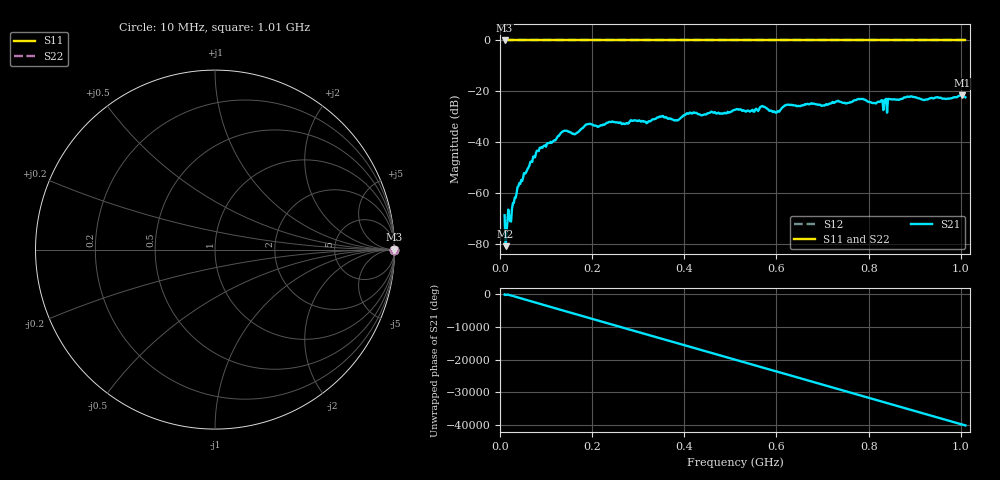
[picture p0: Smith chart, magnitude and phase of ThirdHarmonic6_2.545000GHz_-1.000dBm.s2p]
! 8/17/2025 5:10:02 AM
! C:\ANRITSUVNA\TEMP\TEMP.S2P
! CHANNEL.1
! TR.MEASUREMENT
! RAW.DATA
! RF.CORRECTION.OFF
! AVERAGING.OFF
! IF.BANDWIDTH: 5KHZ
! SWEEPTYPE:  FREQ.SWEEP(Linear)
! Reference Plane Port Info
! PORT:  PORT1  PORT2
! DISTANCE:  0  m  0  m
! TIME:  0  s  0  s
! PHASE.OFFSET:  0  deg.  0  deg.
! LOSS:  0  dB  0  dB
! REF.LOSS:  0  dB  0  dB
! REF.FREQ:  0  Hz  0  Hz
! Power Info
! POWER:  -20  dBm  -20  dBm
! EFF.POWER:  -20  dBm  -20  dBm
! SOURCE.ATTEN:  0  dB  0  dB
! TEST.ATTEN:  0  dB  0  dB
# GHZ S RI R 50.0
! FREQ.GHZ  S11RE  S11IM  S21RE  S21IM  S12RE  S12IM  S22RE  S22IM
!; PortSelection: Port_12
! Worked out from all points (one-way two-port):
!   501 points, 10 MHz to 1.01 GHz, reference 50 ohm
!   highest |S21| = -21.52 dB at 1.002 GHz (marker M1); lowest = -81.0 dB at 12 MHz (marker M2)
!   lowest |S11| = 0.0 dB at 10 MHz (marker M3)
!   |S11| at or under -10 dB: nowhere
!   |S22| runs from 0.0 to 0.0 dB; largest |S21 - S12| = 1.1
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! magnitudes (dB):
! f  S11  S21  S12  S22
! 10 MHz  0.0  -68.8  0.0  0.0
! 12 MHz  0.0  -81.0  0.0  0.0
! 26 MHz  0.0  -66.2  0.0  0.0
! 42 MHz  0.0  -56.1  0.0  0.0
! 82 MHz  0.0  -43.4  0.0  0.0
! 136 MHz  0.0  -35.9  0.0  0.0
! 162 MHz  0.0  -37.0  0.0  0.0
! 178 MHz  0.0  -34.6  0.0  0.0
! 344 MHz  0.0  -30.3  0.0  0.0
! 382 MHz  0.0  -31.3  0.0  0.0
! 410 MHz  0.0  -28.8  0.0  0.0
! 510 MHz  0.0  -27.3  0.0  0.0
! 570 MHz  0.0  -25.8  0.0  0.0
! 602 MHz  0.0  -27.9  0.0  0.0
! 622 MHz  0.0  -25.3  0.0  0.0
! 678 MHz  0.0  -24.9  0.0  0.0
! 782 MHz  0.0  -23.1  0.0  0.0
! 844 MHz  0.0  -23.1  0.0  0.0
! 888 MHz  0.0  -22.2  0.0  0.0
! 922 MHz  0.0  -23.4  0.0  0.0
! 1.002 GHz  0.0  -21.5  0.0  0.0
! 1.01 GHz  0.0  -22.4  0.0  0.0
